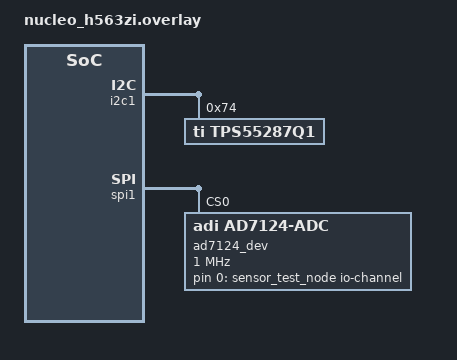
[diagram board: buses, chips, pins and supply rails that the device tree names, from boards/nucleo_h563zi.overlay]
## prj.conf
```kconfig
# Logging
CONFIG_LOG=y
CONFIG_LOG_DEFAULT_LEVEL=3
CONFIG_REGULATOR_TPS55287Q1_LOG_LEVEL=4

# Enable floating-point printf support
CONFIG_CBPRINTF_FP_SUPPORT=y

# SPI support
CONFIG_SPI=y

# I2C support
CONFIG_I2C=y

# GPIO support
# CONFIG_GPIO=y

# Regulator subsystem
CONFIG_REGULATOR=y
CONFIG_REGULATOR_TPS55287Q1=y

# Enable coo_commons library
# CONFIG_COO_COMMONS=y

# Optional: Network support (for future MQTT telemetry)
# CONFIG_NETWORKING=y
# CONFIG_COO_NETWORK=y
# CONFIG_COO_JSON=y
# CONFIG_COO_MQTT=y

CONFIG_COO_CONFIG_LIB=y
CONFIG_COO_HEATERS_LIB=y
CONFIG_COO_SENSORS_LIB=y
CONFIG_ADC=y
```

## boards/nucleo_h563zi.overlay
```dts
/*
 * Devicetree overlay for NUCLEO-H563ZI:
 * - AD7124 ADC on SPI1
 */

/ {
    aliases {
        sensor-test = &sensor_test_node;
        high-current-heater-test = &tps55287q1;
    };

    sensor_test_node: zephyr,user {
        io-channels = <&ad7124_dev 0>;
    };
};

&i2c1 {
    status = "okay";

    tps55287q1: tps55287q1@74 {
        compatible = "ti,tps55287q1";
        reg = <0x74>;
        status = "okay";

        intfb = <3>;
        force-discharge;
        r-sense-uohm = <20000>;
        
        /* Regulator common properties */
		regulator-name = "TPS55287Q1";
        regulator-active-discharge = <0>;
    };
};

&spi1 {
    status = "okay";

    ad7124_dev: ad7124@0 {
        compatible = "adi,ad7124-adc";
        status = "okay";
        reg = <0>;
        spi-max-frequency = <1000000>;
        active-device = <1>;

        #address-cells = <1>;
        #size-cells = <0>;

        #io-channel-cells = <1>;

        channel@0 {
            reg = <0>;
            zephyr,gain = "ADC_GAIN_4";
            zephyr,reference = "ADC_REF_EXTERNAL0";
            zephyr,acquisition-time = <ADC_ACQ_TIME_DEFAULT>;
            zephyr,resolution = <24>;
            zephyr,current-source-pin = [ 03 00 ];
            zephyr,input-positive = <2>;
            zephyr,input-negative = <3>;
        };
    };
};
```

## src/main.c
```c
#include <zephyr/kernel.h>
#include <zephyr/logging/log.h>
#include <zephyr/drivers/adc.h>
#include <stdio.h>

#include <config.h>
#include <sensor_manager.h>
#include <heater_manager.h>

LOG_MODULE_REGISTER(main, LOG_LEVEL_INF);

/* Static ADC specs */
#if DT_NODE_HAS_STATUS(DT_ALIAS(sensor_test), okay)
static const struct adc_dt_spec sensor_1_adc_spec = ADC_DT_SPEC_GET(DT_ALIAS(sensor_test));
#endif

int main(void)
{
    LOG_INF("Sensor Dev Demo Starting");
    int ret;

    /* Load configuration */
    thermal_config_t *config = config_load_defaults();
    if (!config) {
        LOG_ERR("Failed to load configuration");
        return -1;
    }

    strncpy(config->heaters[0].id, "high-power-1", MAX_ID_LENGTH - 1);
    config->heaters[0].type = HEATER_TYPE_HIGH_POWER;
    config->heaters[0].max_power_w = 40.0f;     // 40W max
    config->heaters[0].resistance_ohms = 30.0f;  // 30 Ohms
    config->heaters[0].regulator_dev = DEVICE_DT_GET(DT_ALIAS(high_current_heater_test));
    config->heaters[0].enabled = true;

    ret = heater_manager_init(config);
    if (ret < 0) {
        LOG_ERR("Failed to initialize heater manager: %d", ret);
        return -1;
    }

    heater_manager_set_power("high-power-1", 0.0f);

    /* Assign hardware drivers to config */
#if DT_NODE_HAS_STATUS(DT_ALIAS(sensor_test), okay)
    sensor_config_t *s1 = config_find_sensor(config, "sensor-1");
    if (s1) {
        s1->driver_data = &sensor_1_adc_spec;
    }
#endif

    /* Initialize Sensor Manager */
    ret = sensor_manager_init(config);
    if (ret != 0) {
        LOG_ERR("Sensor manager init failed: %d", ret);
        return -1;
    }

    /* Main loop */
    /* Main loop */
    float current_power = 0.0f;
    int ticks = 0;
    
    while (1) {
        /* Read sensors */
        ret = sensor_manager_read_all();
        if (ret < 0) {
            LOG_WRN("Sensor read had %d errors", -ret);
        }

        /* Print readings */
        for (int i = 0; i < config->number_of_sensors; i++) {
            sensor_reading_t reading;
            if (sensor_manager_get_reading(config->sensors[i].id, &reading) == 0) {
                printf("Sensor %s: %.3f K (%.3f C)\n", 
                       config->sensors[i].id, 
                       reading.temperature_kelvin,
                       reading.temperature_kelvin - 273.15f);
            }
        }

        /* Update heater power every 20 seconds */
        if (ticks % 20 == 0) {
             if (current_power < 10.0f) {
                 current_power += 0.1f;
                 if (current_power > 10.0f) {
                     current_power = 10.0f;
                 }
                 heater_manager_set_power("high-power-1", current_power);
                 LOG_INF("Setting heater power to %.1f%%", (double)current_power);
             }
        }

        ticks++;
        k_msleep(1000);
    }
    return 0;
}
```
